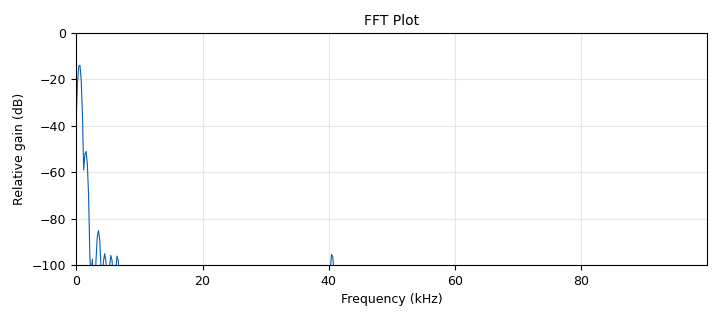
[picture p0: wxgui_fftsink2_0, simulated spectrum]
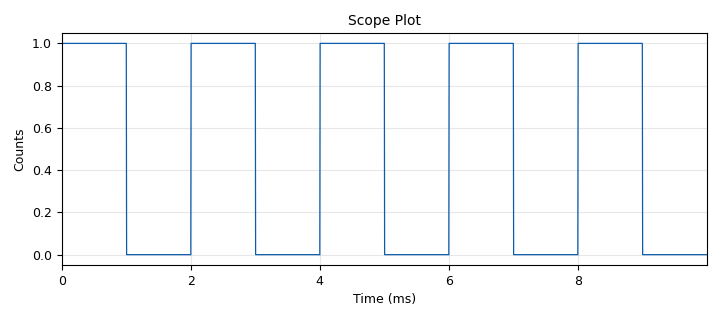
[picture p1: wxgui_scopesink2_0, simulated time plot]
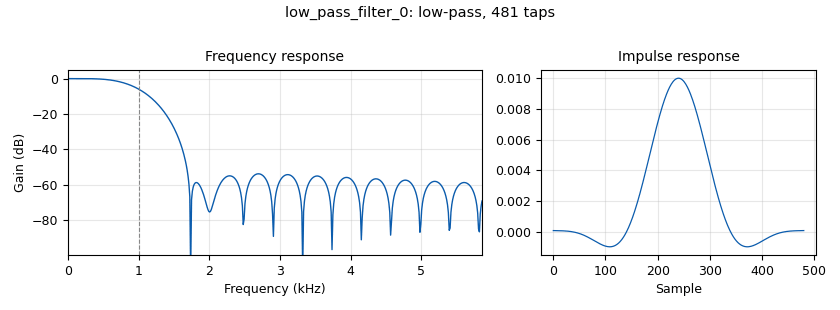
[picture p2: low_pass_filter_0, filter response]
<?xml version='1.0' encoding='utf-8'?>
<?grc format='1' created='3.7.11'?>
<flow_graph>
<block>
<key>options</key>
<param><key>id</key><value>bpsk_mod_dmod_sim</value></param>
<param><key>author</key><value>AKADEMIKA Lab Solution</value></param>
<param><key>category</key><value>Custom</value></param>
<param><key>generate_options</key><value>wx_gui</value></param>
<param><key>title</key><value>BPSK Demodulation</value></param>
</block>
<block>
<key>variable</key>
<param><key>id</key><value>samp_rate</value></param>
<param><key>value</key><value>200000</value></param>
</block>
<block>
<key>analog_sig_source_x</key>
<param><key>id</key><value>analog_sig_source_x_0</value></param>
<param><key>amp</key><value>1</value></param>
<param><key>freq</key><value>20000</value></param>
<param><key>offset</key><value>0</value></param>
<param><key>type</key><value>float</value></param>
<param><key>samp_rate</key><value>samp_rate</value></param>
<param><key>waveform</key><value>analog.GR_SIN_WAVE</value></param>
</block>
<block>
<key>analog_sig_source_x</key>
<param><key>id</key><value>analog_sig_source_x_0_0</value></param>
<param><key>amp</key><value>1</value></param>
<param><key>freq</key><value>20000</value></param>
<param><key>offset</key><value>0</value></param>
<param><key>type</key><value>float</value></param>
<param><key>samp_rate</key><value>samp_rate</value></param>
<param><key>waveform</key><value>analog.GR_SIN_WAVE</value></param>
</block>
<block>
<key>analog_sig_source_x</key>
<param><key>id</key><value>analog_sig_source_x_1</value></param>
<param><key>amp</key><value>2</value></param>
<param><key>freq</key><value>500</value></param>
<param><key>offset</key><value>-1</value></param>
<param><key>type</key><value>float</value></param>
<param><key>samp_rate</key><value>samp_rate</value></param>
<param><key>waveform</key><value>analog.GR_SQR_WAVE</value></param>
</block>
<block>
<key>blocks_multiply_xx</key>
<param><key>id</key><value>blocks_multiply_xx_0</value></param>
<param><key>type</key><value>float</value></param>
</block>
<block>
<key>blocks_multiply_xx</key>
<param><key>id</key><value>blocks_multiply_xx_1</value></param>
<param><key>type</key><value>float</value></param>
</block>
<block>
<key>blocks_threshold_ff</key>
<param><key>id</key><value>blocks_threshold_ff_0</value></param>
<param><key>high</key><value>0.2</value></param>
<param><key>init</key><value>0</value></param>
<param><key>low</key><value>-0.2</value></param>
</block>
<block>
<key>blocks_throttle</key>
<param><key>id</key><value>blocks_throttle_0</value></param>
<param><key>samples_per_second</key><value>samp_rate</value></param>
<param><key>type</key><value>float</value></param>
</block>
<block>
<key>blocks_throttle</key>
<param><key>id</key><value>blocks_throttle_0_0</value></param>
<param><key>samples_per_second</key><value>samp_rate</value></param>
<param><key>type</key><value>float</value></param>
</block>
<block>
<key>low_pass_filter</key>
<param><key>id</key><value>low_pass_filter_0</value></param>
<param><key>cutoff_freq</key><value>1000</value></param>
<param><key>decim</key><value>1</value></param>
<param><key>type</key><value>fir_filter_fff</value></param>
<param><key>gain</key><value>1</value></param>
<param><key>samp_rate</key><value>samp_rate</value></param>
<param><key>width</key><value>1000</value></param>
<param><key>win</key><value>firdes.WIN_HAMMING</value></param>
</block>
<block>
<key>note</key>
<param><key>id</key><value>note_0</value></param>
<param><key>note</key><value>modulation</value></param>
</block>
<block>
<key>note</key>
<param><key>id</key><value>note_0_0</value></param>
<param><key>note</key><value>demodulation</value></param>
</block>
<block>
<key>wxgui_fftsink2</key>
<param><key>id</key><value>wxgui_fftsink2_0</value></param>
<param><key>avg_alpha</key><value>0</value></param>
<param><key>average</key><value>False</value></param>
<param><key>baseband_freq</key><value>0</value></param>
<param><key>fft_size</key><value>1024</value></param>
<param><key>freqvar</key><value>None</value></param>
<param><key>peak_hold</key><value>False</value></param>
<param><key>ref_level</key><value>0</value></param>
<param><key>ref_scale</key><value>2.0</value></param>
<param><key>fft_rate</key><value>15</value></param>
<param><key>samp_rate</key><value>samp_rate</value></param>
<param><key>title</key><value>FFT Plot</value></param>
<param><key>type</key><value>float</value></param>
<param><key>win</key><value>None</value></param>
<param><key>y_divs</key><value>10</value></param>
<param><key>y_per_div</key><value>10</value></param>
</block>
<block>
<key>wxgui_scopesink2</key>
<param><key>id</key><value>wxgui_scopesink2_0</value></param>
<param><key>ac_couple</key><value>False</value></param>
<param><key>num_inputs</key><value>1</value></param>
<param><key>samp_rate</key><value>samp_rate</value></param>
<param><key>t_scale</key><value>0.001</value></param>
<param><key>title</key><value>Scope Plot</value></param>
<param><key>trig_mode</key><value>wxgui.TRIG_MODE_AUTO</value></param>
<param><key>type</key><value>float</value></param>
<param><key>v_offset</key><value>0</value></param>
<param><key>v_scale</key><value>0.5</value></param>
<param><key>xy_mode</key><value>False</value></param>
<param><key>y_axis_label</key><value>Counts</value></param>
</block>
<connection><source_block_id>analog_sig_source_x_0</source_block_id><sink_block_id>blocks_throttle_0</sink_block_id><source_key>0</source_key><sink_key>0</sink_key></connection>
<connection><source_block_id>analog_sig_source_x_0_0</source_block_id><sink_block_id>blocks_multiply_xx_1</sink_block_id><source_key>0</source_key><sink_key>1</sink_key></connection>
<connection><source_block_id>analog_sig_source_x_1</source_block_id><sink_block_id>blocks_throttle_0_0</sink_block_id><source_key>0</source_key><sink_key>0</sink_key></connection>
<connection><source_block_id>blocks_multiply_xx_0</source_block_id><sink_block_id>blocks_multiply_xx_1</sink_block_id><source_key>0</source_key><sink_key>0</sink_key></connection>
<connection><source_block_id>blocks_multiply_xx_1</source_block_id><sink_block_id>low_pass_filter_0</sink_block_id><source_key>0</source_key><sink_key>0</sink_key></connection>
<connection><source_block_id>blocks_threshold_ff_0</source_block_id><sink_block_id>wxgui_scopesink2_0</sink_block_id><source_key>0</source_key><sink_key>0</sink_key></connection>
<connection><source_block_id>blocks_throttle_0</source_block_id><sink_block_id>blocks_multiply_xx_0</sink_block_id><source_key>0</source_key><sink_key>0</sink_key></connection>
<connection><source_block_id>blocks_throttle_0_0</source_block_id><sink_block_id>blocks_multiply_xx_0</sink_block_id><source_key>0</source_key><sink_key>1</sink_key></connection>
<connection><source_block_id>low_pass_filter_0</source_block_id><sink_block_id>blocks_threshold_ff_0</sink_block_id><source_key>0</source_key><sink_key>0</sink_key></connection>
<connection><source_block_id>low_pass_filter_0</source_block_id><sink_block_id>wxgui_fftsink2_0</sink_block_id><source_key>0</source_key><sink_key>0</sink_key></connection>
</flow_graph>
